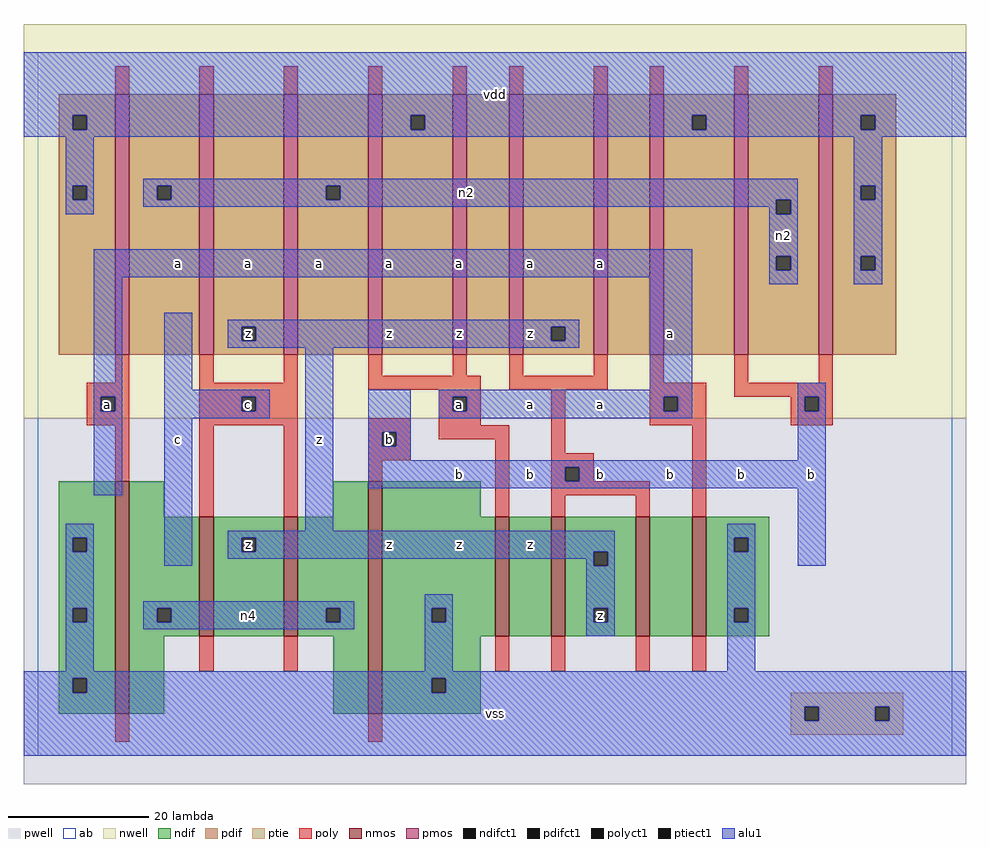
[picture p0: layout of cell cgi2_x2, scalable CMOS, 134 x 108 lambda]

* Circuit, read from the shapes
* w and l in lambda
.subckt cgi2_x2 a b c n2 n4 vdd vss z
M1 n4 a vss vss nfet w=33 l=2
M2 z c n4 vss nfet w=17 l=2 m=2
M3 vss b n4 vss nfet w=33 l=2
M4 n1 a vss vss nfet w=17 l=2
M5 z b n1 vss nfet w=17 l=2
M6 n3 b z vss nfet w=17 l=2
M7 vss a n3 vss nfet w=17 l=2
M8 n2 a vdd n5 pfet w=37 l=2 m=2
M9 z c n2 n5 pfet w=37 l=2 m=2
M10 n6 a vdd n5 pfet w=37 l=2
M11 z b n6 n5 pfet w=37 l=2
M12 n7 b z n5 pfet w=37 l=2
M13 vdd a n7 n5 pfet w=37 l=2
M14 n2 b vdd n5 pfet w=37 l=2 m=2
.ends

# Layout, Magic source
magic
tech scmos
<< ab >>
rect 0 0 130 100
<< nwell >>
rect -2 48 132 104
<< pwell >>
rect -2 -4 132 48
<< poly >>
rect 11 94 13 98
rect 23 94 25 98
rect 35 94 37 98
rect 47 94 49 98
rect 59 94 61 98
rect 67 94 69 98
rect 79 94 81 98
rect 87 94 89 98
rect 99 94 101 98
rect 111 94 113 98
rect 11 53 13 57
rect 7 51 13 53
rect 7 49 9 51
rect 11 49 13 51
rect 7 47 13 49
rect 11 39 13 47
rect 23 53 25 57
rect 35 53 37 57
rect 23 51 37 53
rect 47 54 49 57
rect 59 54 61 57
rect 67 54 69 57
rect 79 54 81 57
rect 47 52 63 54
rect 67 52 81 54
rect 87 53 89 57
rect 99 53 101 57
rect 111 53 113 57
rect 23 49 29 51
rect 31 49 37 51
rect 23 47 37 49
rect 57 51 63 52
rect 57 49 59 51
rect 61 49 63 51
rect 23 34 25 47
rect 35 34 37 47
rect 47 46 53 48
rect 47 44 49 46
rect 51 44 53 46
rect 57 47 63 49
rect 57 45 67 47
rect 47 42 53 44
rect 47 39 49 42
rect 23 12 25 17
rect 35 12 37 17
rect 65 34 67 45
rect 73 43 75 52
rect 87 51 95 53
rect 99 51 113 53
rect 87 49 89 51
rect 91 49 95 51
rect 87 47 95 49
rect 107 49 109 51
rect 111 49 113 51
rect 107 47 113 49
rect 73 41 79 43
rect 73 39 75 41
rect 77 39 79 41
rect 73 37 87 39
rect 73 34 75 37
rect 85 34 87 37
rect 93 34 95 47
rect 65 12 67 17
rect 73 12 75 17
rect 85 12 87 17
rect 93 12 95 17
rect 11 2 13 6
rect 47 2 49 6
<< ndif >>
rect 3 31 11 39
rect 3 29 5 31
rect 7 29 11 31
rect 3 21 11 29
rect 3 19 5 21
rect 7 19 11 21
rect 3 11 11 19
rect 3 9 5 11
rect 7 9 11 11
rect 3 6 11 9
rect 13 34 18 39
rect 42 34 47 39
rect 13 21 23 34
rect 13 19 17 21
rect 19 19 23 21
rect 13 17 23 19
rect 25 31 35 34
rect 25 29 29 31
rect 31 29 35 31
rect 25 17 35 29
rect 37 21 47 34
rect 37 19 41 21
rect 43 19 47 21
rect 37 17 47 19
rect 13 6 18 17
rect 42 6 47 17
rect 49 34 63 39
rect 49 21 65 34
rect 49 19 56 21
rect 58 19 65 21
rect 49 17 65 19
rect 67 17 73 34
rect 75 29 85 34
rect 75 27 79 29
rect 81 27 85 29
rect 75 21 85 27
rect 75 19 79 21
rect 81 19 85 21
rect 75 17 85 19
rect 87 17 93 34
rect 95 31 104 34
rect 95 29 99 31
rect 101 29 104 31
rect 95 21 104 29
rect 95 19 99 21
rect 101 19 104 21
rect 95 17 104 19
rect 49 11 63 17
rect 49 9 56 11
rect 58 9 63 11
rect 49 6 63 9
<< pdif >>
rect 3 91 11 94
rect 3 89 5 91
rect 7 89 11 91
rect 3 81 11 89
rect 3 79 5 81
rect 7 79 11 81
rect 3 57 11 79
rect 13 81 23 94
rect 13 79 17 81
rect 19 79 23 81
rect 13 57 23 79
rect 25 61 35 94
rect 25 59 29 61
rect 31 59 35 61
rect 25 57 35 59
rect 37 81 47 94
rect 37 79 41 81
rect 43 79 47 81
rect 37 57 47 79
rect 49 91 59 94
rect 49 89 53 91
rect 55 89 59 91
rect 49 57 59 89
rect 61 57 67 94
rect 69 61 79 94
rect 69 59 73 61
rect 75 59 79 61
rect 69 57 79 59
rect 81 57 87 94
rect 89 91 99 94
rect 89 89 93 91
rect 95 89 99 91
rect 89 57 99 89
rect 101 79 111 94
rect 101 77 105 79
rect 107 77 111 79
rect 101 71 111 77
rect 101 69 105 71
rect 107 69 111 71
rect 101 57 111 69
rect 113 91 122 94
rect 113 89 117 91
rect 119 89 122 91
rect 113 81 122 89
rect 113 79 117 81
rect 119 79 122 81
rect 113 71 122 79
rect 113 69 117 71
rect 119 69 122 71
rect 113 57 122 69
<< alu1 >>
rect -2 91 132 100
rect -2 89 5 91
rect 7 89 53 91
rect 55 89 93 91
rect 95 89 117 91
rect 119 89 132 91
rect -2 88 132 89
rect 4 81 8 88
rect 4 79 5 81
rect 7 79 8 81
rect 4 77 8 79
rect 15 81 108 82
rect 15 79 17 81
rect 19 79 41 81
rect 43 79 108 81
rect 15 78 105 79
rect 104 77 105 78
rect 107 77 108 79
rect 8 68 93 72
rect 8 51 12 68
rect 8 49 9 51
rect 11 49 12 51
rect 8 37 12 49
rect 18 52 22 63
rect 27 61 77 62
rect 27 59 29 61
rect 31 59 73 61
rect 75 59 77 61
rect 27 58 77 59
rect 18 51 33 52
rect 18 49 29 51
rect 31 49 33 51
rect 18 48 33 49
rect 4 31 8 33
rect 4 29 5 31
rect 7 29 8 31
rect 4 21 8 29
rect 18 27 22 48
rect 38 32 42 58
rect 87 52 93 68
rect 104 71 108 77
rect 104 69 105 71
rect 107 69 108 71
rect 104 67 108 69
rect 116 81 120 88
rect 116 79 117 81
rect 119 79 120 81
rect 116 71 120 79
rect 116 69 117 71
rect 119 69 120 71
rect 116 67 120 69
rect 47 46 53 52
rect 57 51 93 52
rect 57 49 59 51
rect 61 49 89 51
rect 91 49 93 51
rect 57 48 93 49
rect 108 51 112 53
rect 108 49 109 51
rect 111 49 112 51
rect 47 44 49 46
rect 51 44 53 46
rect 47 42 53 44
rect 108 42 112 49
rect 47 41 112 42
rect 47 39 75 41
rect 77 39 112 41
rect 47 38 112 39
rect 27 31 82 32
rect 27 29 29 31
rect 31 29 82 31
rect 27 28 79 29
rect 78 27 79 28
rect 81 27 82 29
rect 4 19 5 21
rect 7 19 8 21
rect 4 12 8 19
rect 15 21 45 22
rect 15 19 17 21
rect 19 19 41 21
rect 43 19 45 21
rect 15 18 45 19
rect 55 21 59 23
rect 55 19 56 21
rect 58 19 59 21
rect 55 12 59 19
rect 78 21 82 27
rect 78 19 79 21
rect 81 19 82 21
rect 78 17 82 19
rect 98 31 102 33
rect 98 29 99 31
rect 101 29 102 31
rect 98 21 102 29
rect 108 27 112 38
rect 98 19 99 21
rect 101 19 102 21
rect 98 12 102 19
rect -2 11 132 12
rect -2 9 5 11
rect 7 9 56 11
rect 58 9 132 11
rect -2 7 132 9
rect -2 5 109 7
rect 111 5 119 7
rect 121 5 132 7
rect -2 0 132 5
<< ptie >>
rect 107 7 123 9
rect 107 5 109 7
rect 111 5 119 7
rect 121 5 123 7
rect 107 3 123 5
<< nmos >>
rect 11 6 13 39
rect 23 17 25 34
rect 35 17 37 34
rect 47 6 49 39
rect 65 17 67 34
rect 73 17 75 34
rect 85 17 87 34
rect 93 17 95 34
<< pmos >>
rect 11 57 13 94
rect 23 57 25 94
rect 35 57 37 94
rect 47 57 49 94
rect 59 57 61 94
rect 67 57 69 94
rect 79 57 81 94
rect 87 57 89 94
rect 99 57 101 94
rect 111 57 113 94
<< polyct1 >>
rect 9 49 11 51
rect 29 49 31 51
rect 59 49 61 51
rect 49 44 51 46
rect 89 49 91 51
rect 109 49 111 51
rect 75 39 77 41
<< ndifct1 >>
rect 5 29 7 31
rect 5 19 7 21
rect 5 9 7 11
rect 17 19 19 21
rect 29 29 31 31
rect 41 19 43 21
rect 56 19 58 21
rect 79 27 81 29
rect 79 19 81 21
rect 99 29 101 31
rect 99 19 101 21
rect 56 9 58 11
<< ptiect1 >>
rect 109 5 111 7
rect 119 5 121 7
<< pdifct1 >>
rect 5 89 7 91
rect 5 79 7 81
rect 17 79 19 81
rect 29 59 31 61
rect 41 79 43 81
rect 53 89 55 91
rect 73 59 75 61
rect 93 89 95 91
rect 105 77 107 79
rect 105 69 107 71
rect 117 89 119 91
rect 117 79 119 81
rect 117 69 119 71
<< labels >>
rlabel polyct1 10 50 10 50 6 a
rlabel alu1 20 45 20 45 6 c
rlabel alu1 20 70 20 70 6 a
rlabel alu1 30 20 30 20 6 n4
rlabel ndifct1 30 30 30 30 6 z
rlabel alu1 40 45 40 45 6 z
rlabel polyct1 30 50 30 50 6 c
rlabel pdifct1 30 60 30 60 6 z
rlabel alu1 30 70 30 70 6 a
rlabel alu1 40 70 40 70 6 a
rlabel alu1 65 6 65 6 6 vss
rlabel alu1 50 30 50 30 6 z
rlabel alu1 70 30 70 30 6 z
rlabel alu1 60 30 60 30 6 z
rlabel alu1 60 40 60 40 6 b
rlabel alu1 70 40 70 40 6 b
rlabel polyct1 50 45 50 45 6 b
rlabel alu1 70 50 70 50 6 a
rlabel polyct1 60 50 60 50 6 a
rlabel alu1 70 60 70 60 6 z
rlabel alu1 60 60 60 60 6 z
rlabel alu1 50 60 50 60 6 z
rlabel alu1 50 70 50 70 6 a
rlabel alu1 60 70 60 70 6 a
rlabel alu1 70 70 70 70 6 a
rlabel alu1 65 94 65 94 6 vdd
rlabel ndifct1 80 20 80 20 6 z
rlabel alu1 100 40 100 40 6 b
rlabel alu1 90 40 90 40 6 b
rlabel alu1 80 40 80 40 6 b
rlabel alu1 80 50 80 50 6 a
rlabel alu1 90 60 90 60 6 a
rlabel alu1 80 70 80 70 6 a
rlabel alu1 110 40 110 40 6 b
rlabel alu1 106 74 106 74 6 n2
rlabel alu1 61 80 61 80 6 n2
<< end >>
